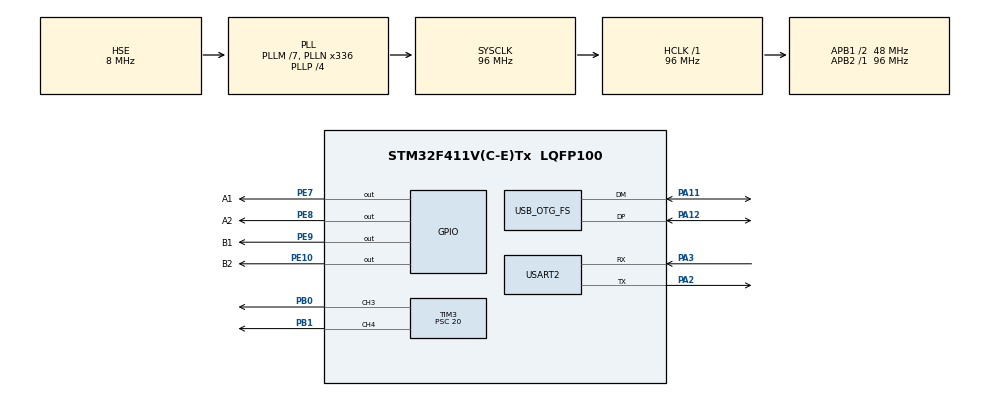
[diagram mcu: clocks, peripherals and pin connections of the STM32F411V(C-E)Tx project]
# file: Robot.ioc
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Dma.Request0=USART2_RX
Dma.Request1=USART2_TX
Dma.USART2_RX.0.Direction=DMA_PERIPH_TO_MEMORY
Dma.USART2_RX.0.FIFOMode=DMA_FIFOMODE_DISABLE
Dma.USART2_RX.0.Instance=DMA1_Stream5
Dma.USART2_RX.0.MemDataAlignment=DMA_MDATAALIGN_BYTE
Dma.USART2_RX.0.MemInc=DMA_MINC_ENABLE
Dma.USART2_RX.0.Mode=DMA_CIRCULAR
Dma.USART2_RX.0.PeriphDataAlignment=DMA_PDATAALIGN_BYTE
Dma.USART2_RX.0.PeriphInc=DMA_PINC_DISABLE
Dma.USART2_RX.0.Priority=DMA_PRIORITY_MEDIUM
Dma.USART2_TX.1.Direction=DMA_MEMORY_TO_PERIPH
Dma.USART2_TX.1.FIFOMode=DMA_FIFOMODE_DISABLE
Dma.USART2_TX.1.Instance=DMA1_Stream6
Dma.USART2_TX.1.MemDataAlignment=DMA_MDATAALIGN_BYTE
Dma.USART2_TX.1.MemInc=DMA_MINC_ENABLE
Dma.USART2_TX.1.Mode=DMA_NORMAL
Dma.USART2_TX.1.PeriphDataAlignment=DMA_PDATAALIGN_BYTE
Dma.USART2_TX.1.PeriphInc=DMA_PINC_DISABLE
Dma.USART2_TX.1.Priority=DMA_PRIORITY_LOW
FREERTOS.Tasks01=defaultTask,24,128,StartDefaultTask,Default,NULL,Dynamic,NULL,NULL
Mcu.Family=STM32F4
Mcu.Name=STM32F411V(C-E)Tx
Mcu.Package=LQFP100
NVIC.DMA1_Stream5_IRQn=true\:5\:0\:false\:false\:true\:true\:false\:true
NVIC.DMA1_Stream6_IRQn=true\:5\:0\:false\:false\:true\:true\:false\:true
NVIC.OTG_FS_IRQn=true\:5\:0\:false\:false\:true\:false\:false\:true
NVIC.PriorityGroup=NVIC_PRIORITYGROUP_4
NVIC.TIM1_UP_TIM10_IRQn=true\:0\:0\:false\:false\:true\:false\:false\:true
NVIC.TimeBase=TIM1_UP_TIM10_IRQn
NVIC.TimeBaseIP=TIM1
NVIC.USART2_IRQn=true\:5\:0\:false\:false\:true\:true\:true\:true
PA11.Mode=Device_Only
PA11.Signal=USB_OTG_FS_DM
PA12.Mode=Device_Only
PA12.Signal=USB_OTG_FS_DP
PA2.Mode=Asynchronous
PA2.Signal=USART2_TX
PA3.Mode=Asynchronous
PA3.Signal=USART2_RX
PB0.Signal=S_TIM3_CH3
PB1.Signal=S_TIM3_CH4
PE10.GPIO_Label=B2
PE10.Signal=GPIO_Output
PE7.GPIO_Label=A1
PE7.Signal=GPIO_Output
PE8.GPIO_Label=A2
PE8.Signal=GPIO_Output
PE9.GPIO_Label=B1
PE9.Signal=GPIO_Output
PH0\ -\ OSC_IN.Mode=HSE-External-Oscillator
PH0\ -\ OSC_IN.Signal=RCC_OSC_IN
PH1\ -\ OSC_OUT.Mode=HSE-External-Oscillator
PH1\ -\ OSC_OUT.Signal=RCC_OSC_OUT
ProjectManager.HeapSize=0x200
ProjectManager.StackSize=0x400
ProjectManager.TargetToolchain=STM32CubeIDE
RCC.48MHZClocksFreq_Value=48000000.00000001
RCC.AHBFreq_Value=96000000.00000001
RCC.APB1CLKDivider=RCC_HCLK_DIV2
RCC.APB1Freq_Value=48000000.00000001
RCC.APB1TimFreq_Value=96000000.00000001
RCC.APB2Freq_Value=96000000.00000001
RCC.APB2TimFreq_Value=96000000.00000001
RCC.CortexFreq_Value=96000000.00000001
RCC.HCLKFreq_Value=96000000.00000001
RCC.HSE_VALUE=8000000
RCC.HSI_VALUE=16000000
RCC.LSE_VALUE=32768
RCC.PLLM=7
RCC.PLLN=336
RCC.PLLP=RCC_PLLP_DIV4
RCC.PLLQ=8
RCC.SYSCLKFreq_VALUE=96000000.00000001
RCC.SYSCLKSource=RCC_SYSCLKSOURCE_PLLCLK
RCC.VCOOutputFreq_Value=384000000.00000006
SH.S_TIM3_CH3.0=TIM3_CH3,PWM Generation3 CH3
SH.S_TIM3_CH4.0=TIM3_CH4,PWM Generation4 CH4
TIM3.Channel-PWM\ Generation3\ CH3=TIM_CHANNEL_3
TIM3.Channel-PWM\ Generation4\ CH4=TIM_CHANNEL_4
TIM3.Period=99
TIM3.Prescaler=20
USART2.VirtualMode=VM_ASYNC
USB_DEVICE.CLASS_NAME_FS=CDC
USB_DEVICE.VirtualMode=Cdc
USB_DEVICE.VirtualModeFS=Cdc_FS
USB_OTG_FS.VirtualMode=Device_Only
VP_FREERTOS_VS_CMSIS_V2.Mode=CMSIS_V2
VP_SYS_VS_tim1.Mode=TIM1
VP_TIM3_VS_ClockSourceINT.Mode=Internal
VP_USB_DEVICE_VS_USB_DEVICE_CDC_FS.Mode=CDC_FS
board=custom

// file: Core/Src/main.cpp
/* USER CODE BEGIN Header */
/**
 ******************************************************************************
 * @file           : main.c
 * @brief          : Main program body
 ******************************************************************************
 * @attention
 *
 * <h2><center>&copy; Copyright (c) 2020 STMicroelectronics.
 * All rights reserved.</center></h2>
 *
 * This software component is licensed by ST under BSD 3-Clause license,
 * the "License"; You may not use this file except in compliance with the
 * License. You may obtain a copy of the License at:
 *                        opensource.org/licenses/BSD-3-Clause
 *
 ******************************************************************************
 */
/* USER CODE END Header */
#include "main.h"
#include "cmsis_os.h"
#include "usb_device.h"

/* USER CODE BEGIN Includes */
#include "usbd_cdc_if.h"

/* USER CODE END Includes */

/* USER CODE BEGIN PM */
#define HAL_Delay() NULL// it's FreeRTOS so don't use blocking delays
#define RX_BUF_LEN 100
/* USER CODE END PM */

TIM_HandleTypeDef htim3;

UART_HandleTypeDef huart2;
DMA_HandleTypeDef hdma_usart2_rx;
DMA_HandleTypeDef hdma_usart2_tx;

/* Definitions for defaultTask */
osThreadId_t defaultTaskHandle;
osThreadAttr_t defaultTask_attributes = { };

osThreadId_t ESPTaskHandle;
osThreadAttr_t ESPTask_attributes = { };

/* USER CODE BEGIN PV */
char DataToSend[60]; // Tablica zawierajaca dane do wyslania
uint8_t MessageLength = 0; // Zawiera dlugosc wysylanej wiadomosci

uint8_t received[RX_BUF_LEN];
uint8_t bufp;
uint8_t datain;
uint8_t received_flag;

/* USER CODE END PV */

void SystemClock_Config(void);
static void MX_GPIO_Init(void);
static void MX_DMA_Init(void);
static void MX_TIM3_Init(void);
static void MX_USART2_UART_Init(void);
void StartDefaultTask(void *argument);
void ESPTask(void *argument);

void HAL_UART_AbortReceiveCpltCallback(UART_HandleTypeDef *huart) {
	MessageLength = snprintf(DataToSend, sizeof(DataToSend),
			"AbortReceiveCpltCallback\r\n");
	CDC_Transmit_FS((uint8_t*) DataToSend, MessageLength);
}

void HAL_UART_RxHalfCpltCallback(UART_HandleTypeDef *huart) {
	MessageLength = snprintf(DataToSend, sizeof(DataToSend),
			"RxHalfCpltCallback\r\n");
	CDC_Transmit_FS((uint8_t*) DataToSend, MessageLength);
}
void HAL_UART_ErrorCallback(UART_HandleTypeDef *huart) {
	MessageLength = snprintf(DataToSend, sizeof(DataToSend),
			"ErrorCallback: %lu;state: %u\r\n", HAL_UART_GetError(&huart2),
			HAL_UART_GetState(&huart2));
	CDC_Transmit_FS((uint8_t*) DataToSend, MessageLength);
	__HAL_UART_CLEAR_OREFLAG(huart);
	__HAL_UART_CLEAR_NEFLAG(huart);
	__HAL_UART_CLEAR_FEFLAG(huart);
	/* Disable the UART Error Interrupt: (Frame error, noise error, overrun error) */
	__HAL_UART_DISABLE_IT(huart, UART_IT_ERR);
	HAL_UART_Receive_DMA(&huart2, &datain, 1);

}
void HAL_UART_AbortCpltCallback(UART_HandleTypeDef *huart) {
	MessageLength = snprintf(DataToSend, sizeof(DataToSend),
			"AbortCpltCallback\r\n");
	CDC_Transmit_FS((uint8_t*) DataToSend, MessageLength);
}

void HAL_UART_RxCpltCallback(UART_HandleTypeDef *huart) {

	if (bufp > RX_BUF_LEN - 1) {
		bufp = 0;
		received[0] = '\0';
	}
	received[bufp] = datain;
	bufp++;
	if (datain == '\n') {
		received_flag = 1;

	}
}

int main(void) {

	/* MCU Configuration--------------------------------------------------------*/

	/* Reset of all peripherals, Initializes the Flash interface and the Systick. */
	HAL_Init();

	/* Configure the system clock */
	SystemClock_Config();

	/* Initialize all configured peripherals */
	MX_GPIO_Init();
	MX_DMA_Init();
	MX_USART2_UART_Init();
	MX_USB_DEVICE_Init();
	MX_TIM3_Init();
	HAL_TIM_PWM_Start(&htim3, TIM_CHANNEL_4);
	HAL_TIM_PWM_Start(&htim3, TIM_CHANNEL_3);

	/* USER CODE BEGIN 2 */
	HAL_UART_Receive_DMA(&huart2, &datain, 1);
	BSP_LED_Init(LED4);
	BSP_LED_Init(LED5);
	BSP_LED_Off(LED4);
	BSP_LED_Off(LED5);
	/*if (BSP_ACCELERO_Init() != HAL_OK) {
	 Error_Handler();
	 }*/
	BSP_COMPASS_Init(0);
	//BSP_GYRO_Init();

	/* USER CODE END 2 */

	/* Init scheduler */
	osKernelInitialize();

	/* Create the thread(s) */
	/* creation of defaultTask */
	defaultTask_attributes.name = "defaultTask";
	defaultTask_attributes.priority = (osPriority_t) osPriorityNormal;
	defaultTask_attributes.stack_size = 128 * 4;
	defaultTaskHandle = osThreadNew(StartDefaultTask, NULL,
			&defaultTask_attributes);

	ESPTask_attributes.name = "ESPTask";
	ESPTask_attributes.priority = (osPriority_t) osPriorityLow;
	ESPTask_attributes.stack_size = 128 * 4;
	ESPTaskHandle = osThreadNew(ESPTask, NULL, &ESPTask_attributes);

	/* Start scheduler */
	osKernelStart();

	/* We should never get here as control is now taken by the scheduler */
	/* Infinite loop */
	while (1) {

		/* USER CODE BEGIN 3 */
		//Vector acc = read_accel();
		//MessageLength = sprintf(DataToSend, "%f,%f,%f\n\r", acc.x, acc.y,
		//acc.z);
		//int16_t temp = L3GD20_ReadTemperature();
		//int16_t temp_a = LSM303DLHC_TempRead();
		//MessageLength = sprintf(DataToSend, "Gyro: %i, accell: %i\r\n", 40 - temp, temp_a + 20);
		//float out = read_gyro();
		//MessageLength = sprintf(DataToSend, "%i,%i,%i\n\r", (int)out.x, (int)out.y,
		//(int)out.z);
		//MessageLength = sprintf(DataToSend, "Heading: %i\n\r",
		//(int) read_heading());
		//CDC_Transmit_FS(DataToSend, MessageLength);
		//osDelay(200);
	}
	/* USER CODE END 3 */
}

void SystemClock_Config(void) {
	RCC_OscInitTypeDef RCC_OscInitStruct = { 0 };
	RCC_ClkInitTypeDef RCC_ClkInitStruct = { 0 };

	/** Configure the main internal regulator output voltage
	 */
	__HAL_RCC_PWR_CLK_ENABLE();
	__HAL_PWR_VOLTAGESCALING_CONFIG(PWR_REGULATOR_VOLTAGE_SCALE1);
	/** Initializes the RCC Oscillators according to the specified parameters
	 * in the RCC_OscInitTypeDef structure.
	 */
	RCC_OscInitStruct.OscillatorType = RCC_OSCILLATORTYPE_HSE;
	RCC_OscInitStruct.HSEState = RCC_HSE_ON;
	RCC_OscInitStruct.PLL.PLLState = RCC_PLL_ON;
	RCC_OscInitStruct.PLL.PLLSource = RCC_PLLSOURCE_HSE;
	RCC_OscInitStruct.PLL.PLLM = 7;
	RCC_OscInitStruct.PLL.PLLN = 336;
	RCC_OscInitStruct.PLL.PLLP = RCC_PLLP_DIV4;
	RCC_OscInitStruct.PLL.PLLQ = 8;
	if (HAL_RCC_OscConfig(&RCC_OscInitStruct) != HAL_OK) {
		Error_Handler();
	}
	/** Initializes the CPU, AHB and APB buses clocks
	 */
	RCC_ClkInitStruct.ClockType = RCC_CLOCKTYPE_HCLK | RCC_CLOCKTYPE_SYSCLK
			| RCC_CLOCKTYPE_PCLK1 | RCC_CLOCKTYPE_PCLK2;
	RCC_ClkInitStruct.SYSCLKSource = RCC_SYSCLKSOURCE_PLLCLK;
	RCC_ClkInitStruct.AHBCLKDivider = RCC_SYSCLK_DIV1;
	RCC_ClkInitStruct.APB1CLKDivider = RCC_HCLK_DIV2;
	RCC_ClkInitStruct.APB2CLKDivider = RCC_HCLK_DIV1;

	if (HAL_RCC_ClockConfig(&RCC_ClkInitStruct, FLASH_LATENCY_3) != HAL_OK) {
		Error_Handler();
	}
}

static void MX_TIM3_Init(void) {

	TIM_ClockConfigTypeDef sClockSourceConfig = { 0 };
	TIM_MasterConfigTypeDef sMasterConfig = { 0 };
	TIM_OC_InitTypeDef sConfigOC = { 0 };

	htim3.Instance = TIM3;
	htim3.Init.Prescaler = 20;
	htim3.Init.CounterMode = TIM_COUNTERMODE_UP;
	htim3.Init.Period = 99;
	htim3.Init.ClockDivision = TIM_CLOCKDIVISION_DIV1;
	htim3.Init.AutoReloadPreload = TIM_AUTORELOAD_PRELOAD_DISABLE;
	if (HAL_TIM_Base_Init(&htim3) != HAL_OK) {
		Error_Handler();
	}
	sClockSourceConfig.ClockSource = TIM_CLOCKSOURCE_INTERNAL;
	if (HAL_TIM_ConfigClockSource(&htim3, &sClockSourceConfig) != HAL_OK) {
		Error_Handler();
	}
	if (HAL_TIM_PWM_Init(&htim3) != HAL_OK) {
		Error_Handler();
	}
	sMasterConfig.MasterOutputTrigger = TIM_TRGO_RESET;
	sMasterConfig.MasterSlaveMode = TIM_MASTERSLAVEMODE_DISABLE;
	if (HAL_TIMEx_MasterConfigSynchronization(&htim3, &sMasterConfig)
			!= HAL_OK) {
		Error_Handler();
	}
	sConfigOC.OCMode = TIM_OCMODE_PWM1;
	sConfigOC.Pulse = 0;
	sConfigOC.OCPolarity = TIM_OCPOLARITY_HIGH;
	sConfigOC.OCFastMode = TIM_OCFAST_DISABLE;
	if (HAL_TIM_PWM_ConfigChannel(&htim3, &sConfigOC, TIM_CHANNEL_3)
			!= HAL_OK) {
		Error_Handler();
	}
	if (HAL_TIM_PWM_ConfigChannel(&htim3, &sConfigOC, TIM_CHANNEL_4)
			!= HAL_OK) {
		Error_Handler();
	}
	HAL_TIM_MspPostInit(&htim3);

}

static void MX_USART2_UART_Init(void) {

	huart2.Instance = USART2;
	huart2.Init.BaudRate = 38400;
	huart2.Init.WordLength = UART_WORDLENGTH_8B;
	huart2.Init.StopBits = UART_STOPBITS_2;
	huart2.Init.Parity = UART_PARITY_NONE;
	huart2.Init.Mode = UART_MODE_TX_RX;
	huart2.Init.HwFlowCtl = UART_HWCONTROL_NONE;
	huart2.Init.OverSampling = UART_OVERSAMPLING_16;
	if (HAL_UART_Init(&huart2) != HAL_OK) {
		Error_Handler();
	}

}

static void MX_DMA_Init(void) {

	/* DMA controller clock enable */
	__HAL_RCC_DMA1_CLK_ENABLE();

	/* DMA interrupt init */
	/* DMA1_Stream5_IRQn interrupt configuration */
	HAL_NVIC_SetPriority(DMA1_Stream5_IRQn, 5, 0);
	HAL_NVIC_EnableIRQ(DMA1_Stream5_IRQn);
	/* DMA1_Stream6_IRQn interrupt configuration */
	HAL_NVIC_SetPriority(DMA1_Stream6_IRQn, 5, 0);
	HAL_NVIC_EnableIRQ(DMA1_Stream6_IRQn);

}

static void MX_GPIO_Init(void) {
	GPIO_InitTypeDef GPIO_InitStruct = { 0 };

	/* GPIO Ports Clock Enable */
	__HAL_RCC_GPIOH_CLK_ENABLE();
	__HAL_RCC_GPIOA_CLK_ENABLE();
	__HAL_RCC_GPIOB_CLK_ENABLE();
	__HAL_RCC_GPIOE_CLK_ENABLE();

	/*Configure GPIO pin Output Level */
	HAL_GPIO_WritePin(GPIOE, A1_Pin | A2_Pin | B1_Pin | B2_Pin, GPIO_PIN_RESET);

	/*Configure GPIO pins : A1_Pin A2_Pin B1_Pin B2_Pin */
	GPIO_InitStruct.Pin = A1_Pin | A2_Pin | B1_Pin | B2_Pin;
	GPIO_InitStruct.Mode = GPIO_MODE_OUTPUT_PP;
	GPIO_InitStruct.Pull = GPIO_NOPULL;
	GPIO_InitStruct.Speed = GPIO_SPEED_FREQ_LOW;
	HAL_GPIO_Init(GPIOE, &GPIO_InitStruct);

}

void StartDefaultTask(void *argument) {
	/* USER CODE BEGIN 5 */
	//int direc = 180;
	//int defSpeed = 80;
	/* Infinite loop */
	/*for (;;) {
	 int val = diff(read_heading(), direc);
	 if (val > 0) {
	 setMotorsSpeed(defSpeed - 30, defSpeed);
	 MessageLength = sprintf(DataToSend, "Val: %i A: %i B: %i\n\r", val,
	 defSpeed - 20, defSpeed);
	 } else {
	 setMotorsSpeed(defSpeed, defSpeed - 30);
	 MessageLength = sprintf(DataToSend, "Val: %i A: %i B: %i\n\r", val,
	 defSpeed, defSpeed + 20);
	 }

	 CDC_Transmit_FS(DataToSend, MessageLength);

	 }*/
	uint8_t sensor[] = "[RobotOUT/acc][0.01;0.98;0.09]\r\n";
	while (1) {
		BSP_LED_On(LED5);
		vTaskDelay(50);
		BSP_LED_Off(LED5);
		vTaskDelay(50);
		HAL_UART_Transmit_DMA(&huart2, sensor, 32);
	}

	int angle = 180; // user input
	int target = angle;
	uint8_t speed = 80;
	target = target % 360;
	if (target < 0) {
		target += 360;
	}
	int direction = angle;
	while (1) {

		int currentAngle = read_heading();
		int diff = target - currentAngle;
		if (abs(diff) < 5) {
			setMotors(0, 0);
			return;
		}
		direction = 180 - (diff + 360) % 360;
		MessageLength = snprintf(DataToSend, sizeof(DataToSend),
				"Dir: %i Diff: %i Abs: %i\n\r", direction, diff, currentAngle);
		CDC_Transmit_FS((uint8_t*) DataToSend, MessageLength);
		if (diff > 0) {
			setMotors(speed, -speed); //right
			MessageLength = snprintf(DataToSend, sizeof(DataToSend),
					"RIGHT\n\r");
			osDelay(10);
		} else {
			setMotors(-speed, speed); //left
			MessageLength = snprintf(DataToSend, sizeof(DataToSend),
					"LEFT\n\r");
			osDelay(10);
		}
		CDC_Transmit_FS((uint8_t*) DataToSend, MessageLength);
		//if(diff<-180)
		//	diff += 360;
		//else if(diff> 180)
		//	diff -= 360;
		//direction=-diff;

	}
	osDelay(2000);
	/* USER CODE END 5 */
}

void ESPTask(void *argument) {

	for (;;) {

	if (received_flag) {
		if (prefix((char*) received, "[RobotIN/command][TOGGLE]")) {
			BSP_LED_Toggle(LED4);

			//remove_char_from_string((char*) received, '\r');
			//remove_char_from_string((char*) received, '\n');
			MessageLength = snprintf(DataToSend, sizeof(DataToSend), "%s\r\n",
					received);

			//HAL_UART_Transmit_DMA(&huart2, (uint8_t*) DataToSend,
			//MessageLength);
			CDC_Transmit_FS((uint8_t*) DataToSend, MessageLength);

		}
		received_flag = 0;
		bufp = 0;
		memset(received, 0, sizeof(received));

	}
	vTaskDelay(3);

	}

}

void HAL_TIM_PeriodElapsedCallback(TIM_HandleTypeDef *htim) {
	if (htim->Instance == TIM1) {
		HAL_IncTick();
	}
}

void Error_Handler(void) {
}

/************************ (C) COPYRIGHT STMicroelectronics *****END OF FILE****/
